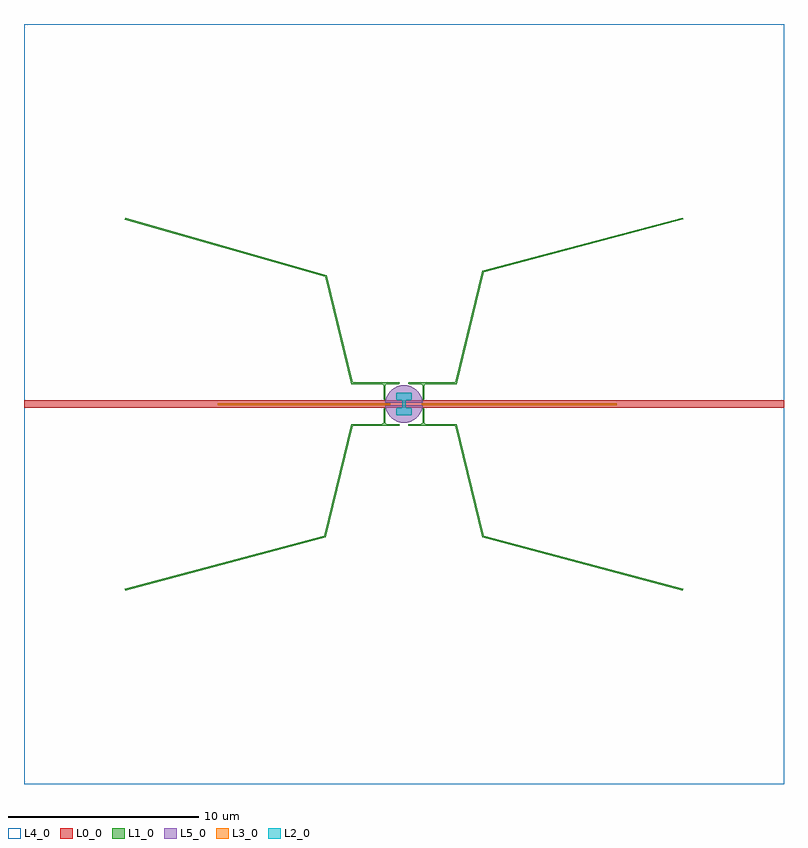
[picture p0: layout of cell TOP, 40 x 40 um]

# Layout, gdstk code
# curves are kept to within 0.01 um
import gdstk
lib = gdstk.Library(unit=1e-6, precision=1e-09)
def R(c, l, rs):  # rectangles x0, y0, x1, y1
    for r in rs: c.add(gdstk.rectangle(r[:2], r[2:], *l))
def P(c, l, *ps):  # polygons
    for p in ps: c.add(gdstk.Polygon(p, *l))
L0_0 = (0, 0)
L1_0 = (1, 0)
L2_0 = (2, 0)
L3_0 = (3, 0)
L4_0 = (4, 0)
L5_0 = (5, 0)

top = lib.new_cell('TOP')
R(top, L0_0, [(-20,-0.194,20,0.194)])
P(top, L1_0, [(1.03,0.223),(0.994,0.233),(0.974,0.264),(0.974,0.962),(0.946,1.018),(0.89,1.046),(0.264,1.046),(0.224,1.082),(0.227,1.116),(0.249,1.14),(2.437,1.146),(2.474,1.119),(2.474,1.073),(2.437,1.046),(1.128,1.036),(1.102,1.018),(1.074,0.962),(1.074,0.266),(1.06,0.238)],
  [(-2.441,-1.154),(-2.483,-1.112),(-2.469,-1.068),(-2.441,-1.054),(-1.132,-1.044),(-1.106,-1.026),(-1.078,-0.97),(-1.078,-0.274),(-1.064,-0.246),(-1.034,-0.231),(-0.998,-0.241),(-0.978,-0.272),(-0.978,-0.97),(-0.95,-1.026),(-0.894,-1.054),(-0.268,-1.054),(-0.237,-1.073),(-0.227,-1.107),(-0.24,-1.138),(-0.269,-1.154)],
  [(0.265,-1.154),(0.236,-1.138),(0.223,-1.107),(0.233,-1.073),(0.264,-1.054),(0.89,-1.054),(0.946,-1.026),(0.974,-0.97),(0.974,-0.272),(0.994,-0.241),(1.03,-0.231),(1.06,-0.246),(1.074,-0.274),(1.074,-0.97),(1.102,-1.026),(1.128,-1.044),(2.437,-1.054),(2.479,-1.096),(2.465,-1.14),(2.437,-1.154)],
  [(-1.034,0.223),(-1.064,0.238),(-1.078,0.266),(-1.078,0.962),(-1.106,1.018),(-1.132,1.036),(-2.441,1.046),(-2.478,1.073),(-2.478,1.119),(-2.441,1.146),(-0.253,1.14),(-0.231,1.116),(-0.228,1.082),(-0.268,1.046),(-0.894,1.046),(-0.95,1.018),(-0.978,0.962),(-0.978,0.264),(-0.998,0.233)])
P(top, L2_0, [(-0.36,-0.6),(-0.4,-0.56),(-0.4,-0.25),(-0.36,-0.21),(-0.14,-0.21),(-0.108,-0.188),(-0.1,0.17),(-0.14,0.21),(-0.36,0.21),(-0.392,0.232),(-0.392,0.578),(-0.36,0.6),(0.378,0.592),(0.4,0.56),(0.4,0.25),(0.36,0.21),(0.14,0.21),(0.108,0.188),(0.1,-0.17),(0.14,-0.21),(0.36,-0.21),(0.392,-0.232),(0.392,-0.578),(0.36,-0.6)])
P(top, L3_0, [(0.971,-0.055),(0.944,-0.044),(0.926,-0.01),(0.937,0.027),(0.971,0.046),(11.188,0.046),(11.188,-0.055)],
  [(-9.796,-0.055),(-9.796,0.046),(-0.759,0.046),(-0.725,0.027),(-0.714,0),(-0.725,-0.037),(-0.759,-0.055)])
R(top, L4_0, [(-20,-20,20,20)])
P(top, L5_0, [(-0.024,-0.99),(-0.169,-0.976),(-0.356,-0.924),(-0.53,-0.837),(-0.683,-0.717),(-0.81,-0.57),(-0.885,-0.445),(-0.954,-0.264),(-0.988,-0.065),(0.988,-0.065),(0.954,-0.264),(0.885,-0.445),(0.781,-0.609),(0.647,-0.75),(0.53,-0.837),(0.356,-0.924),(0.169,-0.976)],
  [(-0.988,0.065),(-0.954,0.264),(-0.885,0.445),(-0.81,0.57),(-0.683,0.717),(-0.53,0.837),(-0.356,0.924),(-0.169,0.976),(-0.024,0.99),(0.169,0.976),(0.356,0.924),(0.53,0.837),(0.647,0.75),(0.781,0.609),(0.885,0.445),(0.954,0.264),(0.988,0.073)])
top.add(gdstk.FlexPath([(-2.427,1.096),(-2.736,1.096),(-4.101,6.743),(-14.68,9.755)], 0.1, ends="flush", simple_path=True, layer=1, datatype=0))  # L1_0
top.add(gdstk.FlexPath([(2.422,1.096),(2.731,1.096),(4.15,6.966),(14.673,9.764)], 0.1, ends="flush", simple_path=True, layer=1, datatype=0))  # L1_0
top.add(gdstk.FlexPath([(2.401,-1.104),(2.73,-1.104),(4.149,-6.975),(14.672,-9.773)], 0.1, ends="flush", simple_path=True, layer=1, datatype=0))  # L1_0
top.add(gdstk.FlexPath([(-2.432,-1.104),(-2.736,-1.104),(-4.156,-6.975),(-14.678,-9.773)], 0.1, ends="flush", simple_path=True, layer=1, datatype=0))  # L1_0

lib.write_gds('TOP.gds')
